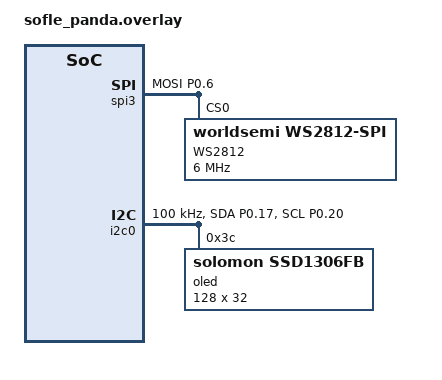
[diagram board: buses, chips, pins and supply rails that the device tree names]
/*
 * Copyright (c) 2023 The ZMK Contributors
 * SPDX-License-Identifier: MIT
 *
 * Sofle Choc Wireless (Panda variant — reserved for future use) overlay
 * for RGB underglow and OLED. Pin assignments based on db-ok/SofleChocWireless:
 *   https://github.com/db-ok/SofleChocWireless
 *   https://github.com/db-ok/zmk-config-soflechocwireless
 *
 * Verified pin mapping (per hardware measurement, 2026-07-11):
 *   RGB SPI : DIN = P0.06
 *   OLED I2C: SDA = P0.17, SCL = P0.20
 *
 * NOTE: not currently registered in build.yaml; kept for future builds.
 */

#include <dt-bindings/led/led.h>

&pinctrl {
    spi3_default: spi3_default {
        group1 {
            psels = <NRF_PSEL(SPIM_MOSI, 0, 6)>;
        };
    };

    spi3_sleep: spi3_sleep {
        group1 {
            psels = <NRF_PSEL(SPIM_MOSI, 0, 6)>;
            low-power-enable;
        };
    };

    /* Custom I2C0 pinctrl for the OLED on P0.17 (SDA) / P0.20 (SCL). */
    i2c0_default: i2c0_default {
        group1 {
            psels = <NRF_PSEL(TWIM_SDA, 0, 17)>, <NRF_PSEL(TWIM_SCL, 0, 20)>;
        };
    };

    i2c0_sleep: i2c0_sleep {
        group1 {
            psels = <NRF_PSEL(TWIM_SDA, 0, 17)>, <NRF_PSEL(TWIM_SCL, 0, 20)>;
            low-power-enable;
        };
    };
};

&spi3 {
    compatible = "nordic,nrf-spim";
    status = "okay";

    pinctrl-0 = <&spi3_default>;
    pinctrl-1 = <&spi3_sleep>;
    pinctrl-names = "default", "sleep";

    led_strip: ws2812@0 {
        compatible = "worldsemi,ws2812-spi";
        label = "WS2812";

        /* SPI */
        reg = <0>;
        spi-max-frequency = <6000000>;

        /* WS2812 */
        chain-length = <30>; /* Single half: 30 WS2812 LEDs (underglow) */
        spi-one-frame = <0xE0>;
        spi-zero-frame = <0x80>;
        color-mapping = <LED_COLOR_ID_GREEN LED_COLOR_ID_RED LED_COLOR_ID_BLUE>;
    };
};

&i2c0 {
    status = "okay";
    compatible = "nordic,nrf-twim";
    pinctrl-0 = <&i2c0_default>;
    pinctrl-1 = <&i2c0_sleep>;
    pinctrl-names = "default", "sleep";
    clock-frequency = <100000>;

    oled: ssd1306@3c {
        compatible = "solomon,ssd1306fb";
        reg = <0x3c>;
        width = <128>;
        height = <32>;
        segment-offset = <0>;
        page-offset = <0>;
        display-offset = <0>;
        multiplex-ratio = <31>;
        segment-remap;
        com-invdir;
        com-sequential;
        prechargep = <0x22>;
    };
};

/ {
    chosen {
        zmk,underglow = &led_strip;
        zephyr,display = &oled;
    };
};
